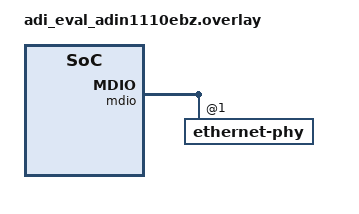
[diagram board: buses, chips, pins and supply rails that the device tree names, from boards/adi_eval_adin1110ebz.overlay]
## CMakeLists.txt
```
# SPDX-License-Identifier: Apache-2.0

cmake_minimum_required(VERSION 3.28.0)

find_package(Zephyr REQUIRED HINTS $ENV{ZEPHYR_BASE})
project(secure_mqtt_sensor_actuator)

FILE(GLOB app_sources src/*.c)
target_sources(app PRIVATE ${app_sources})

zephyr_include_directories(${APPLICATION_SOURCE_DIR}/src/tls_config)
```

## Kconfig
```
# Copyright (c) 2024 Analog Devices, Inc.
# SPDX-License-Identifier: Apache-2.0

mainmenu "Secure MQTT Sensor Actuator Sample Application"

config NET_SAMPLE_MQTT_BROKER_HOSTNAME
	string "Hostname of MQTT broker"
	default "test.mosquitto.org"
	help
	  MQTT broker's hostname or IP address.

config NET_SAMPLE_MQTT_BROKER_PORT
	string "MQTT Broker Connection Port"
	default "8883"
	help
	  Port through which the application should connect to the MQTT broker.
	  Secure MQTT uses port 8883.

config NET_SAMPLE_MQTT_PUB_TOPIC
	string "The MQTT topic the application should publish data to"
	default "zephyr_sample/sensor"

config NET_SAMPLE_MQTT_SUB_TOPIC_CMD
	string "The MQTT topic the application will receive commands on"
	default "zephyr_sample/command"

config NET_SAMPLE_MQTT_PUBLISH_INTERVAL
	int "Interval between MQTT publishes (in seconds)"
	default 3
	help
	  This config determines the frequency at which MQTT publishes occur.

choice NET_SAMPLE_MQTT_QOS
	prompt "Quality of Service level used for MQTT publish and subscribe"
	default NET_SAMPLE_MQTT_QOS_1_AT_LEAST_ONCE

config NET_SAMPLE_MQTT_QOS_0_AT_MOST_ONCE
	bool "QoS 0 / At most once delivery"
	help
	  No acknowledgment needed for published message.

config NET_SAMPLE_MQTT_QOS_1_AT_LEAST_ONCE
	bool "QoS 1 / At least once delivery"
	help
	  If acknowledgment expected for published message, duplicate messages permitted.

config NET_SAMPLE_MQTT_QOS_2_EXACTLY_ONCE
	bool "QoS 2 / Exactly once delivery"
	help
	   Acknowledgment expected and message shall be published only once.

endchoice

config NET_SAMPLE_MQTT_PAYLOAD_SIZE
	int "Size of MQTT payload in bytes"
	default 128

source "Kconfig.zephyr"
```

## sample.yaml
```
sample:
  name: Secure MQTT Sensor/Actuator Sample
tests:
  sample.net.secure_mqtt_sensor_actuator:
    harness: net
    tags:
      - net
      - mqtt
      - sensors
    filter: dt_alias_exists("ambient-temp0")
    integration_platforms:
      - adi_eval_adin1110ebz
  sample.net.secure_mqtt_sensor_actuator.staticip:
    harness: net
    extra_args: OVERLAY_CONFIG="overlay-static.conf"
    tags:
      - net
      - mqtt
      - sensors
    filter: dt_alias_exists("ambient-temp0")
    integration_platforms:
      - native_sim
  sample.net.secure_mqtt_sensor_actuator.staticip_insecure:
    harness: net
    extra_args: OVERLAY_CONFIG="overlay-static-insecure.conf"
    tags:
      - net
      - mqtt
      - sensors
    filter: dt_alias_exists("ambient-temp0")
    integration_platforms:
      - adi_eval_adin1110ebz
      - native_sim
```

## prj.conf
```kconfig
# Enable network stack
CONFIG_NETWORKING=y
CONFIG_NET_LOG=y

# Enable IPv4
CONFIG_NET_IPV4=y

# Enable IPv6
CONFIG_NET_IPV6=y

# Enable TCP
CONFIG_NET_TCP=y

# Enable DHCP
CONFIG_NET_DHCPV4=y

# Enable Sockets (used by MQTT lib)
CONFIG_NET_SOCKETS=y
CONFIG_NET_SOCKETS_SOCKOPT_TLS=y

# Enable MQTT
CONFIG_MQTT_LIB=y
CONFIG_MQTT_LIB_TLS=y

# Enable Mbed TLS
CONFIG_MBEDTLS=y
CONFIG_MBEDTLS_ENABLE_HEAP=y
CONFIG_MBEDTLS_HEAP_SIZE=60000
CONFIG_MBEDTLS_SSL_IN_CONTENT_LEN=16384
CONFIG_MBEDTLS_SSL_OUT_CONTENT_LEN=16384
CONFIG_MBEDTLS_PEM_PARSE_C=y
CONFIG_MBEDTLS_PEM_WRITE_C=y
CONFIG_MBEDTLS_SSL_SERVER_NAME_INDICATION=y
CONFIG_MBEDTLS_CIPHERSUITE_TLS_ECDHE_RSA_WITH_AES_128_GCM_SHA256=y

# Enable JSON
CONFIG_JSON_LIBRARY=y

# Enable net conn manager
CONFIG_NET_CONNECTION_MANAGER=y

# Enable device hostname
CONFIG_NET_HOSTNAME_ENABLE=y

# Enable Posix API functionality
CONFIG_POSIX_AEP_CHOICE_NETAPP=y

# Enable sensor API
CONFIG_SENSOR=y

# Enable LED API
CONFIG_LED=y

# Main stack size
CONFIG_MAIN_STACK_SIZE=2048

# System work queue stack size
CONFIG_SYSTEM_WORKQUEUE_STACK_SIZE=2048

# Increase Rx net buffers
CONFIG_NET_BUF_RX_COUNT=100
```

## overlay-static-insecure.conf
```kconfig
# Config to disable TLS and DHCPv4, allowing insecure MQTT and a static IP address.
# This allows quick testing of the application without need for a DHCP server or secure MQTT broker set up.
# Only recommended for quick sampling/testing.
# Usage: west build -b <board> -- -DEXTRA_CONF_FILE=overlay-static-insecure.conf

# Disable MQTT with TLS
CONFIG_MQTT_LIB_TLS=n

# Disable DHCP
CONFIG_NET_DHCPV4=n

# Insecure MQTT uses port 1883
CONFIG_NET_SAMPLE_MQTT_BROKER_PORT="1883"

# Static IP address config
CONFIG_NET_CONFIG_SETTINGS=y
CONFIG_NET_CONFIG_MY_IPV4_ADDR="192.0.2.1"
CONFIG_NET_SAMPLE_MQTT_BROKER_HOSTNAME="192.0.2.2"
```

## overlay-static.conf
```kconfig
CONFIG_NET_DHCPV4=n
CONFIG_NET_CONFIG_SETTINGS=y
CONFIG_NET_CONFIG_NEED_IPV4=y
CONFIG_NET_CONFIG_MY_IPV4_ADDR="192.0.2.1"
CONFIG_NET_CONFIG_MY_IPV4_GW="192.0.2.2"
CONFIG_DNS_RESOLVER=y
CONFIG_DNS_SERVER_IP_ADDRESSES=y
CONFIG_DNS_SERVER1="192.0.2.2"
```

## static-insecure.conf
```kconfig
# Config to disable TLS and DHCPv4, allowing insecure MQTT and a static IP address.
# This allows quick testing of the application without need for a DHCP server or secure MQTT broker set up.
# Only recommended for quick sampling/testing.
# Usage: west build -b <board> -- -DEXTRA_CONF_FILE=static-insecure.conf

# Disable MQTT with TLS
CONFIG_MQTT_LIB_TLS=n

# Disable DHCP
CONFIG_NET_DHCPV4=n

# Insecure MQTT uses port 1883
CONFIG_NET_SAMPLE_MQTT_BROKER_PORT="1883"

# Static IP address config
CONFIG_NET_CONFIG_SETTINGS=y
CONFIG_NET_CONFIG_MY_IPV4_ADDR="192.0.2.1"
CONFIG_NET_SAMPLE_MQTT_BROKER_HOSTNAME="192.0.2.2"
```

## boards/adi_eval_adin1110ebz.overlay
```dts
/*
 * Copyright (c) 2024 Analog Devices, Inc.
 *
 * SPDX-License-Identifier: Apache-2.0
 */

&adin1110 {
	mdio {
		/* Enable link status LED */
		ethernet-phy@1 {
			led0-en;
			led1-en;
		};
	};
};
```

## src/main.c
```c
/*
 * Copyright (c) 2024 Analog Devices, Inc.
 *
 * SPDX-License-Identifier: Apache-2.0
 */

#include <zephyr/logging/log.h>
LOG_MODULE_REGISTER(app_main, LOG_LEVEL_DBG);

#include <zephyr/kernel.h>
#include <zephyr/net/mqtt.h>
#include <zephyr/net/net_if.h>
#include <zephyr/net/net_mgmt.h>
#include <zephyr/net/conn_mgr_monitor.h>

#include "mqtt_client.h"
#include "device.h"

#define NET_L4_EVENT_MASK (NET_EVENT_L4_CONNECTED | NET_EVENT_L4_DISCONNECTED)

/* MQTT client struct */
static struct mqtt_client client_ctx;

/* MQTT publish work item */
struct k_work_delayable mqtt_publish_work;

static struct net_mgmt_event_callback net_l4_mgmt_cb;

/* Network connection semaphore */
K_SEM_DEFINE(net_conn_sem, 0, 1);

static void net_l4_evt_handler(struct net_mgmt_event_callback *cb,
				uint64_t mgmt_event, struct net_if *iface)
{
	switch (mgmt_event) {
	case NET_EVENT_L4_CONNECTED:
		k_sem_give(&net_conn_sem);
		LOG_INF("Network connectivity up!");
		break;
	case NET_EVENT_L4_DISCONNECTED:
		LOG_INF("Network connectivity down!");
		break;
	default:
		break;
	}
}

/** Print the device's MAC address to console */
void log_mac_addr(struct net_if *iface)
{
	struct net_linkaddr *mac;

	mac = net_if_get_link_addr(iface);

	LOG_INF("MAC Address: %02X:%02X:%02X:%02X:%02X:%02X",
		mac->addr[0], mac->addr[1], mac->addr[2],
		mac->addr[3], mac->addr[4], mac->addr[5]);
}

/** The system work queue is used to handle periodic MQTT publishing.
 *  Work queuing begins when the MQTT connection is established.
 *  Use CONFIG_NET_SAMPLE_MQTT_PUBLISH_INTERVAL to set the publish frequency.
 */

static void publish_work_handler(struct k_work *work)
{
	int rc;

	if (mqtt_connected) {
		rc = app_mqtt_publish(&client_ctx);
		if (rc != 0) {
			LOG_INF("MQTT Publish failed [%d]", rc);
		}
		k_work_reschedule(&mqtt_publish_work,
					K_SECONDS(CONFIG_NET_SAMPLE_MQTT_PUBLISH_INTERVAL));
	} else {
		k_work_cancel_delayable(&mqtt_publish_work);
	}
}

int main(void)
{
	int rc;
	struct net_if *iface;

	devices_ready();

	iface = net_if_get_default();
	if (iface == NULL) {
		LOG_ERROR("No network interface configured");
		return -ENETDOWN;
	}

	log_mac_addr(iface);

	/* Register callbacks for L4 events */
	net_mgmt_init_event_callback(&net_l4_mgmt_cb, &net_l4_evt_handler, NET_L4_EVENT_MASK);
	net_mgmt_add_event_callback(&net_l4_mgmt_cb);

	LOG_INF("Bringing up network..");

#if defined(CONFIG_NET_DHCPV4)
	net_dhcpv4_start(iface);
#else
	/* If using static IP, L4 Connect callback will happen,
	 * before conn mgr is initialised, so resend events here
	 * to check for connectivity
	 */
	conn_mgr_mon_resend_status();
#endif

	/* Wait for network to come up */
	while (k_sem_take(&net_conn_sem, K_MSEC(MSECS_NET_POLL_TIMEOUT)) != 0) {
		LOG_INF("Waiting for network connection..");
	}

	rc = app_mqtt_init(&client_ctx);
	if (rc != 0) {
		LOG_ERROR("MQTT Init failed [%d]", rc);
		return rc;
	}

	/* Initialise MQTT publish work item */
	k_work_init_delayable(&mqtt_publish_work, publish_work_handler);

	/* Thread main loop */
	while (1) {
		/* Block until MQTT connection is up */
		app_mqtt_connect(&client_ctx);

		/* We are now connected, begin queueing periodic MQTT publishes */
		k_work_reschedule(&mqtt_publish_work,
					K_SECONDS(CONFIG_NET_SAMPLE_MQTT_PUBLISH_INTERVAL));

		/* Handle MQTT inputs and connection */
		app_mqtt_run(&client_ctx);
	}

	return rc;
}
```

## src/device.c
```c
/*
 * Copyright (c) 2024 Analog Devices, Inc.
 *
 * SPDX-License-Identifier: Apache-2.0
 */

#include <zephyr/logging/log.h>
LOG_MODULE_REGISTER(app_device, LOG_LEVEL_DBG);

#include <zephyr/kernel.h>
#include <zephyr/drivers/sensor.h>
#include <zephyr/drivers/led.h>
#include <zephyr/random/random.h>

#include "device.h"

#define SENSOR_CHAN     SENSOR_CHAN_AMBIENT_TEMP
#define SENSOR_UNIT     "Celsius"

/* Devices */
static const struct device *sensor = DEVICE_DT_GET_OR_NULL(DT_ALIAS(ambient_temp0));
static const struct device *leds = DEVICE_DT_GET_OR_NULL(DT_INST(0, gpio_leds));

/* Command handlers */
static void led_on_handler(void)
{
	device_write_led(LED_USER, LED_ON);
}

static void led_off_handler(void)
{
	device_write_led(LED_USER, LED_OFF);
}

/* Supported device commands */
struct device_cmd device_commands[] = {
	{"led_on", led_on_handler},
	{"led_off", led_off_handler}
};

const size_t num_device_commands = ARRAY_SIZE(device_commands);

/* Command dispatcher */
void device_command_handler(uint8_t *command)
{
	for (int i = 0; i < num_device_commands; i++) {
		if (strcmp(command, device_commands[i].command) == 0) {
			LOG_INF("Executing device command: %s", device_commands[i].command);
			return device_commands[i].handler();
		}
	}
	LOG_ERROR("Unknown command: %s", command);
}

int device_read_sensor(struct sensor_sample *sample)
{
	int rc;
	struct sensor_value sensor_val;

	/* Read sample only if a real sensor device is present
	 * otherwise return a dummy value
	 */
	if (sensor == NULL) {
		sample->unit = SENSOR_UNIT;
		sample->value = 20.0 + (double)sys_rand32_get() / UINT32_MAX * 5.0;
		return 0;
	}

	rc = sensor_sample_fetch(sensor);
	if (rc) {
		LOG_ERROR("Failed to fetch sensor sample [%d]", rc);
		return rc;
	}

	rc = sensor_channel_get(sensor, SENSOR_CHAN, &sensor_val);
	if (rc) {
		LOG_ERROR("Failed to get sensor channel [%d]", rc);
		return rc;
	}

	sample->unit = SENSOR_UNIT;
	sample->value = sensor_value_to_double(&sensor_val);
	return rc;
}

int device_write_led(enum led_id led_idx, enum led_state state)
{
	int rc;

	switch (state) {
	case LED_OFF:
		if (leds == NULL) {
			LOG_INF("LED %d OFF", led_idx);
			break;
		}
		led_off(leds, led_idx);
		break;
	case LED_ON:
		if (leds == NULL) {
			LOG_INF("LED %d ON", led_idx);
			break;
		}
		led_on(leds, led_idx);
		break;
	default:
		LOG_ERROR("Invalid LED state setting");
		rc = -EINVAL;
		break;
	}

	return rc;
}

bool devices_ready(void)
{
	bool rc = true;

	/* Check readiness only if a real sensor device is present */
	if (sensor != NULL) {
		if (!device_is_ready(sensor)) {
			LOG_ERROR("Device %s is not ready", sensor->name);
			rc = false;
		} else {
			LOG_INF("Device %s is ready", sensor->name);
		}
	}

	if (leds != NULL) {
		if (!device_is_ready(leds)) {
			LOG_ERROR("Device %s is not ready", leds->name);
			rc = false;
		} else {
			LOG_INF("Device %s is ready", leds->name);
		}
	}

	return rc;
}
```

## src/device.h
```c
/*
 * Copyright (c) 2024 Analog Devices, Inc.
 *
 * SPDX-License-Identifier: Apache-2.0
 */

#ifndef __DEVICE_H__
#define __DEVICE_H__

/** @brief Sensor sample structure */
struct sensor_sample {
	const char *unit;
	int value;
};

/** @brief Available board LEDs */
enum led_id {
	LED_NET, /* Network status LED*/
	LED_USER /* User LED */
};

/** @brief LED states */
enum led_state {
	LED_OFF,
	LED_ON
};

/** @brief Device command consisting of a command string
 *         and associated handler function pointer
 */
struct device_cmd {
	const char *command;
	void (*handler)();
};

/**
 *  @brief Check if all devices are ready
 */
bool devices_ready(void);

/**
 *  @brief Read sample from the sensor
 */
int device_read_sensor(struct sensor_sample *sample);

/**
 *  @brief Write to a board LED
 */
int device_write_led(enum led_id led_idx, enum led_state state);

/**
 *  @brief Handler function for commands received over MQTT
 */
void device_command_handler(uint8_t *command);

#endif /* __DEVICE_H__ */
```

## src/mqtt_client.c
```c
/*
 * Copyright (c) 2024 Analog Devices, Inc.
 *
 * SPDX-License-Identifier: Apache-2.0
 */

#include <zephyr/logging/log.h>
LOG_MODULE_REGISTER(app_mqtt, LOG_LEVEL_DBG);

#include <zephyr/data/json.h>
#include <zephyr/kernel.h>
#include <zephyr/net/mqtt.h>
#include <arpa/inet.h>
#include <netdb.h>
#include <poll.h>
#include <sys/socket.h>
#include <zephyr/random/random.h>

#include "mqtt_client.h"
#include "device.h"

/* Buffers for MQTT client */
static uint8_t rx_buffer[CONFIG_NET_SAMPLE_MQTT_PAYLOAD_SIZE];
static uint8_t tx_buffer[CONFIG_NET_SAMPLE_MQTT_PAYLOAD_SIZE];

/* MQTT payload buffer */
static uint8_t payload_buf[CONFIG_NET_SAMPLE_MQTT_PAYLOAD_SIZE];

/* MQTT broker details */
static struct sockaddr_storage broker;

/* Socket descriptor */
static struct pollfd fds[1];
static int nfds;

/* JSON payload format */
static const struct json_obj_descr sensor_sample_descr[] = {
	JSON_OBJ_DESCR_PRIM(struct sensor_sample, unit, JSON_TOK_STRING),
	JSON_OBJ_DESCR_PRIM(struct sensor_sample, value, JSON_TOK_NUMBER),
};

/* MQTT connectivity status flag */
bool mqtt_connected;

/* MQTT client ID buffer */
static uint8_t client_id[50];

#if defined(CONFIG_MQTT_LIB_TLS)
#include "tls_config/cert.h"

/* This should match the CN field in the server's CA cert */
#define TLS_SNI_HOSTNAME	CONFIG_NET_SAMPLE_MQTT_BROKER_HOSTNAME
#define APP_CA_CERT_TAG		1

static const sec_tag_t m_sec_tags[] = {
	APP_CA_CERT_TAG,
};

/** Register CA certificate for TLS */
static int tls_init(void)
{
	int rc;

	rc = tls_credential_add(APP_CA_CERT_TAG, TLS_CREDENTIAL_CA_CERTIFICATE,
				 ca_certificate, sizeof(ca_certificate));
	if (rc < 0) {
		LOG_ERR("Failed to register public certificate: %d", rc);
		return rc;
	}

	return rc;
}
#endif

static void prepare_fds(struct mqtt_client *client)
{
	if (client->transport.type == MQTT_TRANSPORT_NON_SECURE) {
		fds[0].fd = client->transport.tcp.sock;
	}
#if defined(CONFIG_MQTT_LIB_TLS)
	else if (client->transport.type == MQTT_TRANSPORT_SECURE) {
		fds[0].fd = client->transport.tls.sock;
	}
#endif

	fds[0].events = POLLIN;
	nfds = 1;
}

static void clear_fds(void)
{
	nfds = 0;
}

/** Initialise the MQTT client ID as the board name with random hex postfix */
static void init_mqtt_client_id(void)
{
	snprintk(client_id, sizeof(client_id), CONFIG_BOARD"_%x", (uint8_t)sys_rand32_get());
}

static inline void on_mqtt_connect(void)
{
	mqtt_connected = true;
	device_write_led(LED_NET, LED_ON);
	LOG_INF("Connected to MQTT broker!");
	LOG_INF("Hostname: %s", CONFIG_NET_SAMPLE_MQTT_BROKER_HOSTNAME);
	LOG_INF("Client ID: %s", client_id);
	LOG_INF("Port: %s", CONFIG_NET_SAMPLE_MQTT_BROKER_PORT);
	LOG_INF("TLS: %s",
		IS_ENABLED(CONFIG_MQTT_LIB_TLS) ? "Enabled" : "Disabled");
}

static inline void on_mqtt_disconnect(void)
{
	mqtt_connected = false;
	clear_fds();
	device_write_led(LED_NET, LED_OFF);
	LOG_INF("Disconnected from MQTT broker");
}

/** Called when an MQTT payload is received.
 *  Reads the payload and calls the commands
 *  handler if a payloads is received on the
 *  command topic
 */
static void on_mqtt_publish(struct mqtt_client *const client, const struct mqtt_evt *evt)
{
	int rc;
	uint8_t payload[CONFIG_NET_SAMPLE_MQTT_PAYLOAD_SIZE];

	rc = mqtt_read_publish_payload(client, payload, sizeof(payload) - 1);
	if (rc < 0) {
		LOG_ERR("Failed to read received MQTT payload [%d]", rc);
		return;
	}
	/* Place null terminator at end of payload buffer */
	payload[rc] = '\0';

	LOG_INF("MQTT payload received!");
	LOG_INF("topic: '%s', payload: %s",
		evt->param.publish.message.topic.topic.utf8, payload);

	/* If the topic is a command, call the command handler  */
	if (strcmp(evt->param.publish.message.topic.topic.utf8,
			CONFIG_NET_SAMPLE_MQTT_SUB_TOPIC_CMD) == 0) {
		device_command_handler(payload);
	}
}

/** Handler for asynchronous MQTT events */
static void mqtt_event_handler(struct mqtt_client *const client, const struct mqtt_evt *evt)
{
	switch (evt->type) {
	case MQTT_EVT_CONNACK:
		if (evt->result != 0) {
			LOG_ERR("MQTT Event Connect failed [%d]", evt->result);
			break;
		}
		on_mqtt_connect();
		break;

	case MQTT_EVT_DISCONNECT:
		on_mqtt_disconnect();
		break;

	case MQTT_EVT_PINGRESP:
		LOG_INF("PINGRESP packet");
		break;

	case MQTT_EVT_PUBACK:
		if (evt->result != 0) {
			LOG_ERR("MQTT PUBACK error [%d]", evt->result);
			break;
		}

		LOG_INF("PUBACK packet ID: %u", evt->param.puback.message_id);
		break;

	case MQTT_EVT_PUBREC:
		if (evt->result != 0) {
			LOG_ERR("MQTT PUBREC error [%d]", evt->result);
			break;
		}

		LOG_INF("PUBREC packet ID: %u", evt->param.pubrec.message_id);

		const struct mqtt_pubrel_param rel_param = {
			.message_id = evt->param.pubrec.message_id
		};

		mqtt_publish_qos2_release(client, &rel_param);
		break;

	case MQTT_EVT_PUBREL:
		if (evt->result != 0) {
			LOG_ERR("MQTT PUBREL error [%d]", evt->result);
			break;
		}

		LOG_INF("PUBREL packet ID: %u", evt->param.pubrel.message_id);

		const struct mqtt_pubcomp_param rec_param = {
			.message_id = evt->param.pubrel.message_id
		};

		mqtt_publish_qos2_complete(client, &rec_param);
		break;

	case MQTT_EVT_PUBCOMP:
		if (evt->result != 0) {
			LOG_ERR("MQTT PUBCOMP error %d", evt->result);
			break;
		}

		LOG_INF("PUBCOMP packet ID: %u", evt->param.pubcomp.message_id);
		break;

	case MQTT_EVT_SUBACK:
		if (evt->result == MQTT_SUBACK_FAILURE) {
			LOG_ERR("MQTT SUBACK error [%d]", evt->result);
			break;
		}

		LOG_INF("SUBACK packet ID: %d", evt->param.suback.message_id);
		break;

	case MQTT_EVT_PUBLISH:
		const struct mqtt_publish_param *p = &evt->param.publish;

		if (p->message.topic.qos == MQTT_QOS_1_AT_LEAST_ONCE) {
			const struct mqtt_puback_param ack_param = {
				.message_id = p->message_id
			};
			mqtt_publish_qos1_ack(client, &ack_param);
		} else if (p->message.topic.qos == MQTT_QOS_2_EXACTLY_ONCE) {
			const struct mqtt_pubrec_param rec_param = {
				.message_id = p->message_id
			};
			mqtt_publish_qos2_receive(client, &rec_param);
		}

		on_mqtt_publish(client, evt);

	default:
		break;
	}
}

/** Poll the MQTT socket for received data */
static int poll_mqtt_socket(struct mqtt_client *client, int timeout)
{
	int rc;

	prepare_fds(client);

	if (nfds <= 0) {
		return -EINVAL;
	}

	rc = poll(fds, nfds, timeout);
	if (rc < 0) {
		LOG_ERR("Socket poll error [%d]", rc);
	}

	return rc;
}

/** Retrieves a sensor sample and encodes it in JSON format */
static int get_mqtt_payload(struct mqtt_binstr *payload)
{
	int rc;
	struct sensor_sample sample;

	rc = device_read_sensor(&sample);
	if (rc != 0) {
		LOG_ERR("Failed to get sensor sample [%d]", rc);
		return rc;
	}

	rc = json_obj_encode_buf(sensor_sample_descr, ARRAY_SIZE(sensor_sample_descr),
					&sample, payload_buf, CONFIG_NET_SAMPLE_MQTT_PAYLOAD_SIZE);
	if (rc != 0) {
		LOG_ERR("Failed to encode JSON object [%d]", rc);
		return rc;
	}

	payload->data = payload_buf;
	payload->len = strlen(payload->data);

	return rc;
}

int app_mqtt_publish(struct mqtt_client *client)
{
	int rc;
	struct mqtt_publish_param param;
	struct mqtt_binstr payload;
	static uint16_t msg_id = 1;
	struct mqtt_topic topic = {
		.topic = {
			.utf8 = CONFIG_NET_SAMPLE_MQTT_PUB_TOPIC,
			.size = strlen(topic.topic.utf8)
		},
		.qos = IS_ENABLED(CONFIG_NET_SAMPLE_MQTT_QOS_0_AT_MOST_ONCE) ? 0 :
			(IS_ENABLED(CONFIG_NET_SAMPLE_MQTT_QOS_1_AT_LEAST_ONCE) ? 1 : 2)
	};

	rc = get_mqtt_payload(&payload);
	if (rc != 0) {
		LOG_ERR("Failed to get MQTT payload [%d]", rc);
	}

	param.message.topic = topic;
	param.message.payload = payload;
	param.message_id = msg_id++;
	param.dup_flag = 0;
	param.retain_flag = 0;

	rc = mqtt_publish(client, &param);
	if (rc != 0) {
		LOG_ERR("MQTT Publish failed [%d]", rc);
	}

	LOG_INF("Published to topic '%s', QoS %d",
			param.message.topic.topic.utf8,
			param.message.topic.qos);

	return rc;
}

int app_mqtt_subscribe(struct mqtt_client *client)
{
	int rc;
	struct mqtt_topic sub_topics[] = {
		{
			.topic = {
				.utf8 = CONFIG_NET_SAMPLE_MQTT_SUB_TOPIC_CMD,
				.size = strlen(sub_topics->topic.utf8)
			},
			.qos = IS_ENABLED(CONFIG_NET_SAMPLE_MQTT_QOS_0_AT_MOST_ONCE) ? 0 :
				(IS_ENABLED(CONFIG_NET_SAMPLE_MQTT_QOS_1_AT_LEAST_ONCE) ? 1 : 2)
		}
	};
	const struct mqtt_subscription_list sub_list = {
		.list = sub_topics,
		.list_count = ARRAY_SIZE(sub_topics),
		.message_id = 5841u
	};

	LOG_INF("Subscribing to %d topic(s)", sub_list.list_count);

	rc = mqtt_subscribe(client, &sub_list);
	if (rc != 0) {
		LOG_ERR("MQTT Subscribe failed [%d]", rc);
	}

	return rc;
}

/** Process incoming MQTT data and keep the connection alive*/
int app_mqtt_process(struct mqtt_client *client)
{
	int rc;

	rc = poll_mqtt_socket(client, mqtt_keepalive_time_left(client));
	if (rc != 0) {
		if (fds[0].revents & POLLIN) {
			/* MQTT data received */
			rc = mqtt_input(client);
			if (rc != 0) {
				LOG_ERR("MQTT Input failed [%d]", rc);
				return rc;
			}
			/* Socket error */
			if (fds[0].revents & (POLLHUP | POLLERR)) {
				LOG_ERR("MQTT socket closed / error");
				return -ENOTCONN;
			}
		}
	} else {
		/* Socket poll timed out, time to call mqtt_live() */
		rc = mqtt_live(client);
		if (rc != 0) {
			LOG_ERR("MQTT Live failed [%d]", rc);
			return rc;
		}
	}

	return 0;
}

void app_mqtt_run(struct mqtt_client *client)
{
	int rc;

	/* Subscribe to MQTT topics */
	app_mqtt_subscribe(client);

	/* Thread will primarily remain in this loop */
	while (mqtt_connected) {
		rc = app_mqtt_process(client);
		if (rc != 0) {
			break;
		}
	}
	/* Gracefully close connection */
	mqtt_disconnect(client, NULL);
}

void app_mqtt_connect(struct mqtt_client *client)
{
	int rc = 0;

	mqtt_connected = false;

	/* Block until MQTT CONNACK event callback occurs */
	while (!mqtt_connected) {
		rc = mqtt_connect(client);
		if (rc != 0) {
			LOG_ERR("MQTT Connect failed [%d]", rc);
			k_msleep(MSECS_WAIT_RECONNECT);
			continue;
		}

		/* Poll MQTT socket for response */
		rc = poll_mqtt_socket(client, MSECS_NET_POLL_TIMEOUT);
		if (rc > 0) {
			mqtt_input(client);
		}

		if (!mqtt_connected) {
			mqtt_abort(client);
		}
	}
}

int app_mqtt_init(struct mqtt_client *client)
{
	int rc;
	uint8_t broker_ip[NET_IPV4_ADDR_LEN];
	struct sockaddr_in *broker4;
	struct addrinfo *result;
	const struct addrinfo hints = {
		.ai_family = AF_INET,
		.ai_socktype = SOCK_STREAM
	};

	/* Resolve IP address of MQTT broker */
	rc = getaddrinfo(CONFIG_NET_SAMPLE_MQTT_BROKER_HOSTNAME,
				CONFIG_NET_SAMPLE_MQTT_BROKER_PORT, &hints, &result);
	if (rc != 0) {
		LOG_ERR("Failed to resolve broker hostname [%s]", gai_strerror(rc));
		return -EIO;
	}
	if (result == NULL) {
		LOG_ERR("Broker address not found");
		return -ENOENT;
	}

	broker4 = (struct sockaddr_in *)&broker;
	broker4->sin_addr.s_addr = ((struct sockaddr_in *)result->ai_addr)->sin_addr.s_addr;
	broker4->sin_family = AF_INET;
	broker4->sin_port = ((struct sockaddr_in *)result->ai_addr)->sin_port;
	freeaddrinfo(result);

	/* Log resolved IP address */
	inet_ntop(AF_INET, &broker4->sin_addr.s_addr, broker_ip, sizeof(broker_ip));
	LOG_INF("Connecting to MQTT broker @ %s", broker_ip);

	/* MQTT client configuration */
	init_mqtt_client_id();
	mqtt_client_init(client);
	client->broker = &broker;
	client->evt_cb = mqtt_event_handler;
	client->client_id.utf8 = client_id;
	client->client_id.size = strlen(client->client_id.utf8);
	client->password = NULL;
	client->user_name = NULL;
	client->protocol_version = MQTT_VERSION_3_1_1;

	/* MQTT buffers configuration */
	client->rx_buf = rx_buffer;
	client->rx_buf_size = sizeof(rx_buffer);
	client->tx_buf = tx_buffer;
	client->tx_buf_size = sizeof(tx_buffer);

	/* MQTT transport configuration */
#if defined(CONFIG_MQTT_LIB_TLS)
	struct mqtt_sec_config *tls_config;

	client->transport.type = MQTT_TRANSPORT_SECURE;

	rc = tls_init();
	if (rc != 0) {
		LOG_ERR("TLS init error");
		return rc;
	}

	tls_config = &client->transport.tls.config;
	tls_config->peer_verify = TLS_PEER_VERIFY_REQUIRED;
	tls_config->cipher_list = NULL;
	tls_config->sec_tag_list = m_sec_tags;
	tls_config->sec_tag_count = ARRAY_SIZE(m_sec_tags);
#if defined(CONFIG_MBEDTLS_SSL_SERVER_NAME_INDICATION)
	tls_config->hostname = TLS_SNI_HOSTNAME;
#else
	tls_config->hostname = NULL;
#endif /* CONFIG_MBEDTLS_SSL_SERVER_NAME_INDICATION */
#endif /* CONFIG_MQTT_LIB_TLS */

	return rc;
}
```

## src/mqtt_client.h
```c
/*
 * Copyright (c) 2024 Analog Devices, Inc.
 *
 * SPDX-License-Identifier: Apache-2.0
 */

#ifndef __MQTT_CLIENT_H__
#define __MQTT_CLIENT_H__

/** MQTT connection timeouts */
#define MSECS_NET_POLL_TIMEOUT	5000
#define MSECS_WAIT_RECONNECT	1000

/** MQTT connection status flag */
extern bool mqtt_connected;

/**
 *  @brief Initialise the MQTT client & broker configuration
 */
int app_mqtt_init(struct mqtt_client *client);

/**
 *  @brief Blocking function that establishes connectivity to the MQTT broker
 */
void app_mqtt_connect(struct mqtt_client *client);

/**
 *  @brief  Subscribes to user-defined MQTT topics and continuously
 *          processes incoming data while the MQTT connection is active
 */
void app_mqtt_run(struct mqtt_client *client);

/**
 *  @brief   Subscribe to user-defined MQTT topics
 */
int app_mqtt_subscribe(struct mqtt_client *client);

/**
 *  @brief  Publish MQTT payload
 */
int app_mqtt_publish(struct mqtt_client *client);

#endif /* __MQTT_CLIENT_H__ */
```
